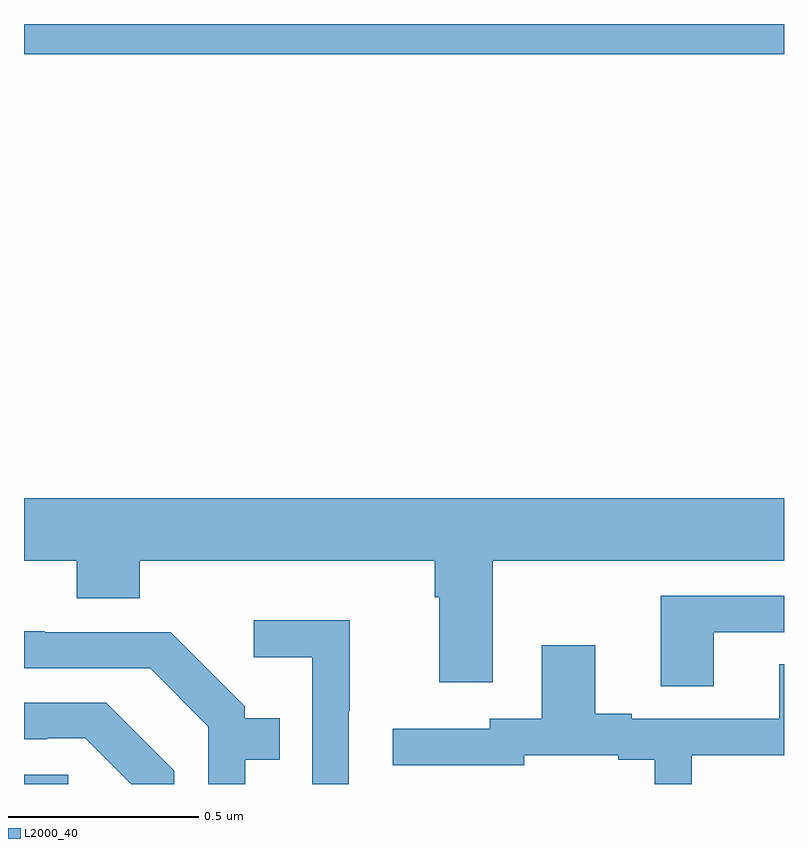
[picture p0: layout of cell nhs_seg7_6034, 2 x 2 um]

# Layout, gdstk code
import gdstk
lib = gdstk.Library(unit=1e-6, precision=1e-09)
def R(c, l, rs):  # rectangles x0, y0, x1, y1
    for r in rs: c.add(gdstk.rectangle(r[:2], r[2:], *l))
def P(c, l, *ps):  # polygons
    for p in ps: c.add(gdstk.Polygon(p, *l))
L2000_40 = (2000, 40)

nhs_seg7_6034 = lib.new_cell('nhs_seg7_6034')
R(nhs_seg7_6034, L2000_40, [(193,1028,193.117,1028.025), (193,1029.92,195,1030)])
P(nhs_seg7_6034, L2000_40, [(194.233,1028.588),(195,1028.588),(195,1028.752),(193,1028.752),(193,1028.588),(193.139,1028.588),(193.139,1028.489),(193.304,1028.489),(193.304,1028.588),(194.081,1028.588),(194.081,1028.492),(194.093,1028.492),(194.093,1028.268),(194.233,1028.268)],
  [(194.815,1028.4),(195,1028.4),(195,1028.496),(194.675,1028.496),(194.675,1028.257),(194.815,1028.257)],
  [(193.854,1028.192),(193.857,1028.192),(193.857,1028.431),(193.605,1028.431),(193.605,1028.333),(193.758,1028.333),(193.758,1028),(193.854,1028)],
  [(193.582,1028.064),(193.673,1028.064),(193.673,1028.173),(193.581,1028.173),(193.581,1028.205),(193.386,1028.4),(193.055,1028.4),(193.055,1028.402),(193,1028.402),(193,1028.304),(193.332,1028.304),(193.485,1028.151),(193.485,1028),(193.582,1028)],
  [(194.757,1028.076),(195,1028.076),(195,1028.315),(194.987,1028.315),(194.987,1028.172),(194.599,1028.172),(194.599,1028.185),(194.503,1028.185),(194.503,1028.365),(194.363,1028.365),(194.363,1028.172),(194.226,1028.172),(194.226,1028.145),(193.971,1028.145),(193.971,1028.049),(194.316,1028.049),(194.316,1028.076),(194.564,1028.076),(194.564,1028.064),(194.66,1028.064),(194.66,1028),(194.757,1028)],
  [(193.395,1028.035),(193.216,1028.214),(193,1028.214),(193,1028.118),(193.061,1028.118),(193.061,1028.121),(193.161,1028.121),(193.282,1028),(193.395,1028)])

lib.write_gds('nhs_seg7_6034.gds')
